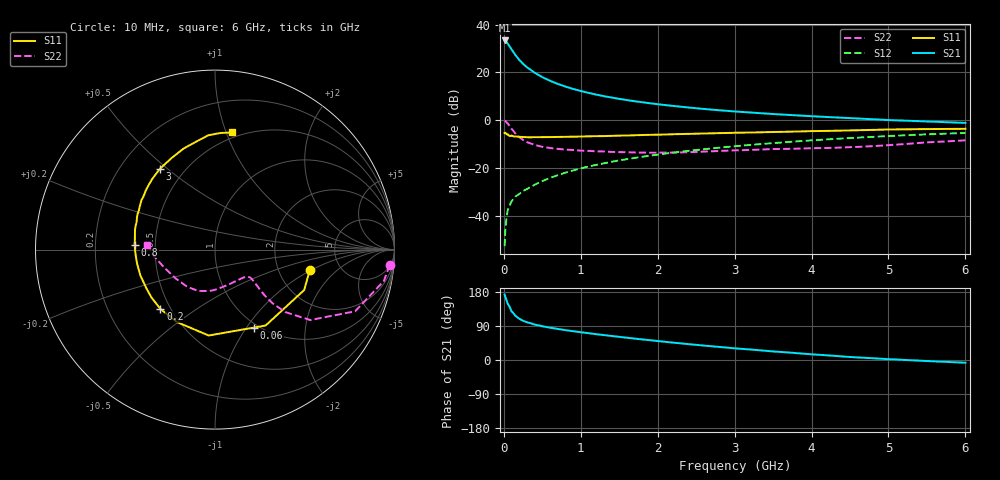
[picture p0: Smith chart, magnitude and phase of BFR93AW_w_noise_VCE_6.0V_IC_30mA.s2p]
! Infineon Technologies  Discrete & RF Semiconductors
! BFR93AW
! VCE =  6.0 V,  IC =  30 mA
! Common Emitter S-Parameters:  Jan 2017
# GHz  S  MA  R  50
!  f  S11  S21  S12  S22
! GHz  MAG  ANG  MAG  ANG  MAG  ANG  MAG  ANG
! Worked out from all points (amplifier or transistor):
!   77 points, 10 MHz to 6 GHz, reference 50 ohm
!   highest |S21| = 33.4 dB at 10 MHz (marker M1)
!   |S21| within 3 dB of that: start of sweep to 84.56 MHz
!   unconditionally stable (mu >= 1): 600.2 MHz to 2.035 GHz
!   at 130 MHz: K = 0.51, MSG = 30.5 dB, |S12| = -32.8 dB
!   at 2.2 GHz: K = 0.99, MSG = 9.8 dB, |S12| = -13.6 dB
!   at 6 GHz: K = 0.87, MSG = 2.1 dB, |S12| = -5.4 dB
!   lowest NFmin = 1.79 dB at 450 MHz
!   S11 on the Smith chart (normalised r, x): 10 MHz: 3.01, -0.96; 60 MHz: 0.96, -1.09; 200 MHz: 0.44, -0.37; 800 MHz: 0.38, +0.03; 3 GHz: 0.37, +0.47; 6 GHz: 0.45, +1.05
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0.01  0.5404 -12.1  46.61 172.7  0.0023 81.1  0.977 -5.1
0.02  0.5455 -24.4  46.35 166.2  0.0051 85.0  0.9572 -10.5
0.05  0.5084 -56.3  40.43 148.6  0.0129 69.2  0.8529 -23.8
0.06  0.4861 -63.3  38.1 145.5  0.0143 67.4  0.8116 -25.8
0.1  0.48 -94.2  30.36 128.5  0.0198 62.7  0.6599 -36.5
0.15  0.456 -117.7  23.09 116.7  0.0252 58.4  0.524 -41.6
0.2  0.4492 -132.6  18.32 109.1  0.0283 60.5  0.4402 -43.0
0.25  0.4432 -143.1  15.12 103.5  0.0329 59.4  0.3854 -42.8
0.3  0.439 -150.7  12.79 99.6  0.0361 62.4  0.3468 -42.1
0.4  0.4401 -161.1  9.828 93.5  0.0443 64.9  0.3031 -40.4
0.5  0.4408 -169.0  7.934 89.1  0.0529 67.0  0.2765 -39.3
0.6  0.4423 -174.4  6.677 85.3  0.0618 68.1  0.2609 -38.6
0.7  0.4452 -179.4  5.748 82.0  0.0703 69.5  0.2504 -38.4
0.8  0.4485 176.4  5.056 78.8  0.0797 70.2  0.2424 -39.0
1.1  0.4593 166.1  3.729 70.8  0.1069 69.8  0.2273 -42.4
1.5  0.4743 155.5  2.788 61.1  0.1436 68.4  0.2141 -50.8
2.1  0.5011 141.6  2.069 48.0  0.1994 64.3  0.2088 -69.3
3  0.5447 124.3  1.522 30.8  0.2841 56.6  0.2332 -98.5
3.1  0.5476 122.5  1.484 29.3  0.2933 55.6  0.2352 -101.4
4.1  0.5924 105.9  1.187 13.7  0.3864 45.6  0.2596 -130.6
5.1  0.6402 92.0  0.991 1.3  0.4725 34.6  0.3072 -163.6
6  0.6595 81.7  0.876 -7.2  0.5395 24.5  0.3781 175.7
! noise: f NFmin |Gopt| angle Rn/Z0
0.45  1.79  0.18  173  0.16
0.9  2.06  0.26  -175  0.16
1.9  3.1  0.5  -135  0.29
2.4  3.75  0.55  -124  0.55
